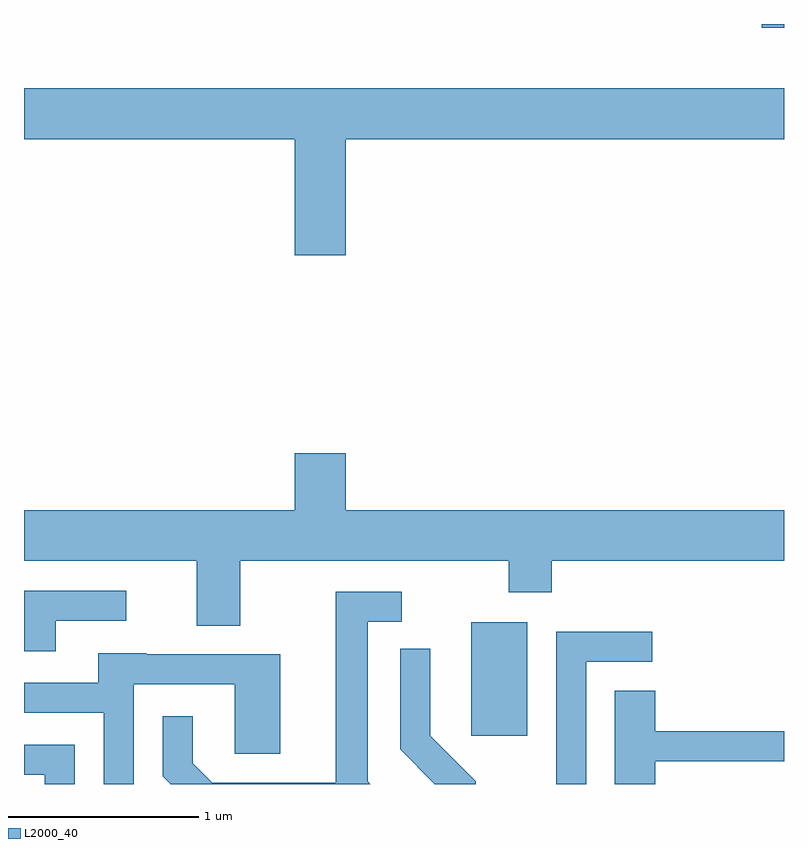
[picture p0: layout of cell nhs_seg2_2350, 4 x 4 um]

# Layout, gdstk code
import gdstk
lib = gdstk.Library(unit=1e-6, precision=1e-09)
def R(c, l, rs):  # rectangles x0, y0, x1, y1
    for r in rs: c.add(gdstk.rectangle(r[:2], r[2:], *l))
def P(c, l, *ps):  # polygons
    for p in ps: c.add(gdstk.Polygon(p, *l))
L2000_40 = (2000, 40)

nhs_seg2_2350 = lib.new_cell('nhs_seg2_2350')
R(nhs_seg2_2350, L2000_40, [(255.966,1054.056,256.259,1054.654), (257.493,1057.781,257.611,1057.802)])
P(nhs_seg2_2350, L2000_40, [(255.304,1057.196),(257.611,1057.196),(257.611,1057.464),(253.611,1057.464),(253.611,1057.196),(255.036,1057.196),(255.036,1056.586),(255.304,1056.586)],
  [(253.611,1054.976),(254.521,1054.976),(254.521,1054.636),(254.749,1054.636),(254.749,1054.976),(256.161,1054.976),(256.161,1054.811),(256.389,1054.811),(256.389,1054.976),(257.611,1054.976),(257.611,1055.244),(255.304,1055.244),(255.304,1055.544),(255.036,1055.544),(255.036,1055.244),(253.611,1055.244)],
  [(253.779,1054.661),(254.148,1054.661),(254.148,1054.819),(253.611,1054.819),(253.611,1054.501),(253.779,1054.501)],
  [(255.419,1053.817),(255.419,1054.656),(255.598,1054.656),(255.598,1054.814),(255.251,1054.814),(255.251,1053.809),(254.602,1053.809),(254.499,1053.912),(254.499,1054.158),(254.341,1054.158),(254.341,1053.844),(254.383,1053.802),(255.434,1053.802)],
  [(256.569,1054.446),(256.918,1054.446),(256.918,1054.604),(256.411,1054.604),(256.411,1053.802),(256.569,1053.802)],
  [(255.989,1053.817),(255.749,1054.057),(255.749,1054.513),(255.591,1054.513),(255.591,1053.984),(255.773,1053.802),(255.989,1053.802)],
  [(254.189,1054.326),(254.721,1054.326),(254.721,1053.961),(254.959,1053.961),(254.959,1054.484),(254.255,1054.484),(254.255,1054.489),(254.001,1054.489),(254.001,1054.334),(253.611,1054.334),(253.611,1054.176),(254.031,1054.176),(254.031,1053.802),(254.189,1053.802)],
  [(256.934,1053.921),(257.611,1053.921),(257.611,1054.079),(256.934,1054.079),(256.934,1054.294),(256.721,1054.294),(256.721,1053.802),(256.934,1053.802)],
  [(253.879,1054.009),(253.611,1054.009),(253.611,1053.851),(253.721,1053.851),(253.721,1053.802),(253.879,1053.802)])

lib.write_gds('nhs_seg2_2350.gds')
